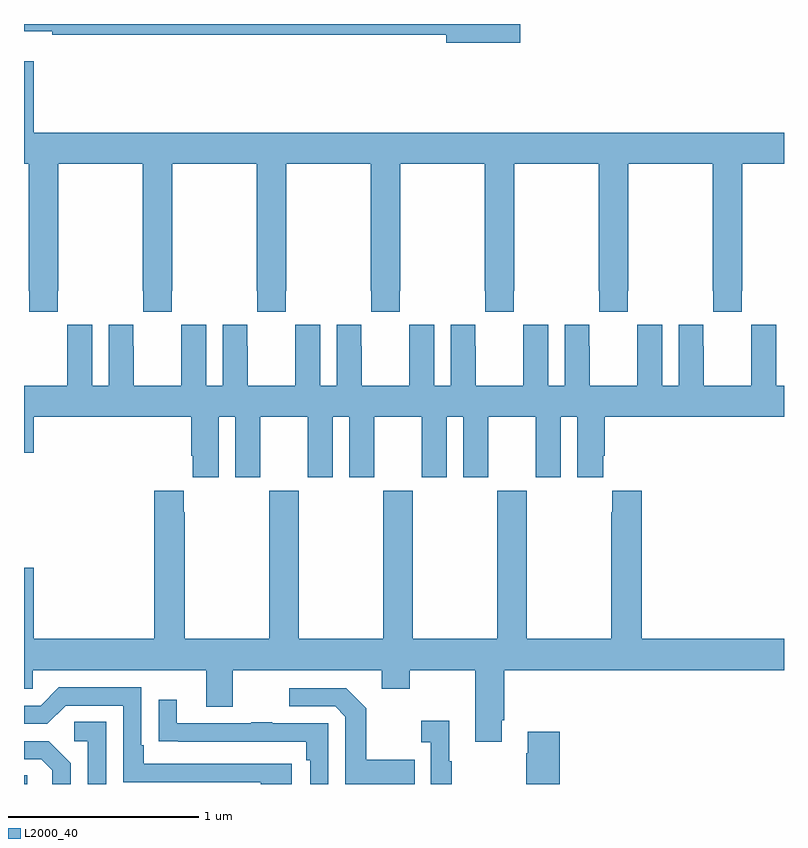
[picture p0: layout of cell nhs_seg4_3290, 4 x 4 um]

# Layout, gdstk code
import gdstk
lib = gdstk.Library(unit=1e-6, precision=1e-09)
def R(c, l, rs):  # rectangles x0, y0, x1, y1
    for r in rs: c.add(gdstk.rectangle(r[:2], r[2:], *l))
def P(c, l, *ps):  # polygons
    for p in ps: c.add(gdstk.Polygon(p, *l))
L2000_40 = (2000, 40)

nhs_seg4_3290 = lib.new_cell('nhs_seg4_3290')
R(nhs_seg4_3290, L2000_40, [(285,782.9,285.018,782.945)])
P(nhs_seg4_3290, L2000_40, [(287.611,786.9),(285,786.9),(285,786.863),(285.148,786.863),(285.148,786.844),(287.222,786.844),(287.222,786.802),(287.611,786.802)],
  [(285.052,786.703),(285,786.703),(285,786.164),(285.025,786.164),(285.025,785.497),(285.027,785.497),(285.027,785.385),(285.177,785.385),(285.177,785.497),(285.18,785.497),(285.18,786.164),(285.625,786.164),(285.625,785.497),(285.627,785.497),(285.627,785.385),(285.777,785.385),(285.777,785.497),(285.78,785.497),(285.78,786.164),(286.225,786.164),(286.225,785.497),(286.227,785.497),(286.227,785.385),(286.377,785.385),(286.377,785.497),(286.38,785.497),(286.38,786.164),(286.825,786.164),(286.825,785.497),(286.827,785.497),(286.827,785.385),(286.977,785.385),(286.977,785.497),(286.98,785.497),(286.98,786.164),(287.425,786.164),(287.425,785.497),(287.427,785.497),(287.427,785.385),(287.577,785.385),(287.577,785.497),(287.58,785.497),(287.58,786.164),(288.025,786.164),(288.025,785.497),(288.027,785.497),(288.027,785.385),(288.177,785.385),(288.177,785.497),(288.18,785.497),(288.18,786.164),(288.625,786.164),(288.625,785.497),(288.627,785.497),(288.627,785.385),(288.777,785.385),(288.777,785.497),(288.78,785.497),(288.78,786.164),(289,786.164),(289,786.328),(285.052,786.328)],
  [(286.024,784.832),(286.112,784.832),(286.112,784.515),(286.243,784.515),(286.243,784.832),(286.493,784.832),(286.493,784.515),(286.624,784.515),(286.624,784.832),(286.712,784.832),(286.712,784.515),(286.843,784.515),(286.843,784.832),(287.093,784.832),(287.093,784.515),(287.224,784.515),(287.224,784.832),(287.312,784.832),(287.312,784.515),(287.443,784.515),(287.443,784.832),(287.693,784.832),(287.693,784.515),(287.824,784.515),(287.824,784.832),(287.912,784.832),(287.912,784.515),(288.049,784.515),(288.049,784.627),(288.056,784.627),(288.056,784.832),(289,784.832),(289,784.996),(288.958,784.996),(288.958,785.317),(288.828,785.317),(288.828,785.204),(288.827,785.204),(288.827,784.996),(288.577,784.996),(288.577,785.204),(288.576,785.204),(288.576,785.317),(288.446,785.317),(288.446,784.996),(288.358,784.996),(288.358,785.317),(288.228,785.317),(288.228,785.204),(288.227,785.204),(288.227,784.996),(287.977,784.996),(287.977,785.204),(287.976,785.204),(287.976,785.317),(287.846,785.317),(287.846,784.996),(287.758,784.996),(287.758,785.317),(287.628,785.317),(287.628,785.204),(287.627,785.204),(287.627,784.996),(287.377,784.996),(287.377,785.204),(287.376,785.204),(287.376,785.317),(287.246,785.317),(287.246,784.996),(287.158,784.996),(287.158,785.317),(287.028,785.317),(287.028,785.204),(287.027,785.204),(287.027,784.996),(286.777,784.996),(286.777,785.204),(286.776,785.204),(286.776,785.317),(286.646,785.317),(286.646,784.996),(286.558,784.996),(286.558,785.317),(286.428,785.317),(286.428,785.204),(286.427,785.204),(286.427,784.996),(286.177,784.996),(286.177,785.204),(286.176,785.204),(286.176,785.317),(286.046,785.317),(286.046,784.996),(285.958,784.996),(285.958,785.317),(285.828,785.317),(285.828,785.204),(285.827,785.204),(285.827,784.996),(285.577,784.996),(285.577,785.204),(285.576,785.204),(285.576,785.317),(285.446,785.317),(285.446,784.996),(285.358,784.996),(285.358,785.317),(285.228,785.317),(285.228,785.204),(285.227,785.204),(285.227,784.996),(285,784.996),(285,784.644),(285.052,784.644),(285.052,784.832),(285.881,784.832),(285.881,784.627),(285.887,784.627),(285.887,784.515),(286.024,784.515)],
  [(287.515,783.235),(287.528,783.235),(287.528,783.5),(289,783.5),(289,783.664),(288.251,783.664),(288.251,784.444),(288.095,784.444),(288.095,784.331),(288.091,784.331),(288.091,783.664),(287.646,783.664),(287.646,784.444),(287.491,784.444),(287.491,783.664),(287.046,783.664),(287.046,784.444),(286.891,784.444),(286.891,783.664),(286.446,783.664),(286.446,784.444),(286.291,784.444),(286.291,783.664),(285.846,783.664),(285.846,784.331),(285.841,784.331),(285.841,784.444),(285.686,784.444),(285.686,783.664),(285.052,783.664),(285.052,784.039),(285,784.039),(285,783.402),(285.045,783.402),(285.045,783.5),(285.959,783.5),(285.959,783.306),(286.099,783.306),(286.099,783.5),(286.883,783.5),(286.883,783.401),(287.031,783.401),(287.031,783.5),(287.375,783.5),(287.375,783.123),(287.515,783.123)],
  [(286.408,783.006),(285.631,783.006),(285.631,783.103),(285.618,783.103),(285.618,783.408),(285.183,783.408),(285.087,783.312),(285,783.312),(285,783.216),(285.123,783.216),(285.219,783.312),(285.522,783.312),(285.522,782.91),(286.247,782.91),(286.247,782.9),(286.408,782.9)],
  [(287.057,783.027),(286.801,783.027),(286.801,783.299),(286.695,783.405),(286.395,783.405),(286.395,783.309),(286.638,783.309),(286.692,783.255),(286.692,782.9),(287.057,782.9)],
  [(286.602,783.219),(286.307,783.219),(286.307,783.224),(286.195,783.224),(286.195,783.219),(285.805,783.219),(285.805,783.343),(285.709,783.343),(285.709,783.124),(285.811,783.124),(285.811,783.123),(286.486,783.123),(286.486,783.026),(286.506,783.026),(286.506,782.9),(286.602,782.9)],
  [(287.251,783.019),(287.239,783.019),(287.239,783.232),(287.091,783.232),(287.091,783.119),(287.142,783.119),(287.142,782.9),(287.251,782.9)],
  [(285.432,783.227),(285.264,783.227),(285.264,783.126),(285.336,783.126),(285.336,782.9),(285.432,782.9)],
  [(287.819,783.175),(287.651,783.175),(287.651,783.062),(287.644,783.062),(287.644,782.9),(287.819,782.9)],
  [(285.246,783.01),(285.13,783.126),(285,783.126),(285,783.03),(285.092,783.03),(285.149,782.973),(285.149,782.9),(285.246,782.9)])

lib.write_gds('nhs_seg4_3290.gds')
